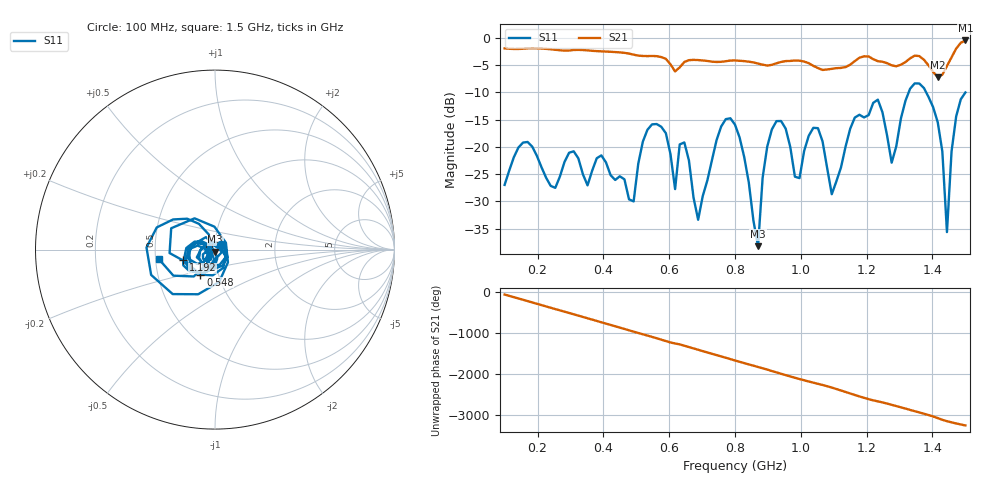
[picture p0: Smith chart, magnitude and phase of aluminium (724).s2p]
! NanoVNA-App
! Date: 2025-09-25 15:00:55
! Start: 100MHz Stop: 1,5GHz Points: 101
! S-Parameter data: F S11 S21 S12 S22
# Hz S RI R 50
!  Frequency  S11_Real  S11_Imag  S21_Real  S21_Imag  S12_Real  S12_Imag  S22_Real  S22_Imag
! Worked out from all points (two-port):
!   101 points, 100 MHz to 1.5 GHz, reference 50 ohm
!   highest |S21| = -0.47 dB at 1.5 GHz (marker M1); lowest = -7.2 dB at 1.416 GHz (marker M2)
!   |S21| within 3 dB of the highest: start of sweep to 572 MHz; 1.459 GHz to end of sweep (the widest 2 of 4)
!   lowest |S11| = -38.2 dB at 870 MHz (marker M3), VSWR 1.02, Z = 50.1 - j1.23 ohm
!   |S11| at or under -10 dB: start of sweep to 1.328 GHz; 1.381 GHz to end of sweep
!   S12 and S22 are empty: the file has one direction only
!   S11 on the Smith chart (normalised r, x): 100 MHz: 1.07, +0.06; 548 MHz: 0.82, -0.23; 1.192 GHz: 0.70, -0.08; 1.5 GHz: 0.52, -0.06
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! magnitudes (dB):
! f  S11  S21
! 100 MHz  -27.0  -1.9
! 338 MHz  -25.0  -2.2
! 492 MHz  -30.0  -3.1
! 548 MHz  -15.9  -3.3
! 576 MHz  -16.3  -3.5
! 618 MHz  -27.7  -6.1
! 646 MHz  -19.2  -4.4
! 688 MHz  -33.3  -4.1
! 800 MHz  -15.9  -4.1
! 870 MHz  -38.2  -4.7
! 912 MHz  -16.8  -4.9
! 996 MHz  -25.7  -4.2
! 1.038 GHz  -16.5  -5.1
! 1.094 GHz  -28.7  -5.7
! 1.192 GHz  -14.6  -3.4
! 1.234 GHz  -11.3  -4.3
! 1.276 GHz  -22.9  -5.0
! 1.346 GHz  -8.3  -3.2
! 1.416 GHz  -15.5  -7.2
! 1.444 GHz  -35.6  -5.2
! 1.472 GHz  -14.4  -2.0
! 1.5 GHz  -10.0  -0.5
